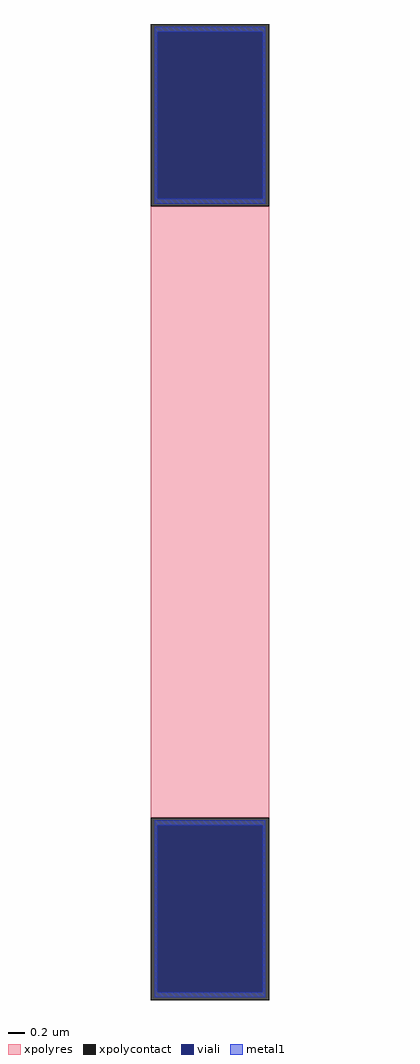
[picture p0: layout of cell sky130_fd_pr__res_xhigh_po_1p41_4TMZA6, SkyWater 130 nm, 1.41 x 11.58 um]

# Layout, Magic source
magic
tech sky130A
magscale 1 2
<< xpolycontact >>
rect -141 726 141 1158
rect -141 -1158 141 -726
<< xpolyres >>
rect -141 -726 141 726
<< viali >>
rect -125 743 125 1140
rect -125 -1140 125 -743
<< metal1 >>
rect -131 1140 131 1152
rect -131 743 -125 1140
rect 125 743 131 1140
rect -131 731 131 743
rect -131 -743 131 -731
rect -131 -1140 -125 -743
rect 125 -1140 131 -743
rect -131 -1152 131 -1140
<< properties >>
string gencell sky130_fd_pr__res_xhigh_po_1p41
string library sky130
string parameters w 1.410 l 7.422 m 1 nx 1 wmin 1.410 lmin 0.50 rho 2000 val 10.794k dummy 0 dw 0.0 term 188.2 sterm 0.0 caplen 0 wmax 1.410 guard 0 glc 1 grc 1 gtc 1 gbc 1 compatible {sky130_fd_pr__res_xhigh_po_0p35  sky130_fd_pr__res_xhigh_po_0p69 sky130_fd_pr__res_xhigh_po_1p41  sky130_fd_pr__res_xhigh_po_2p85 sky130_fd_pr__res_xhigh_po_5p73} snake 0 full_metal 1 n_guard 0 hv_guard 0 vias 1 viagb 0 viagt 0 viagl 0 viagr 0
<< end >>
